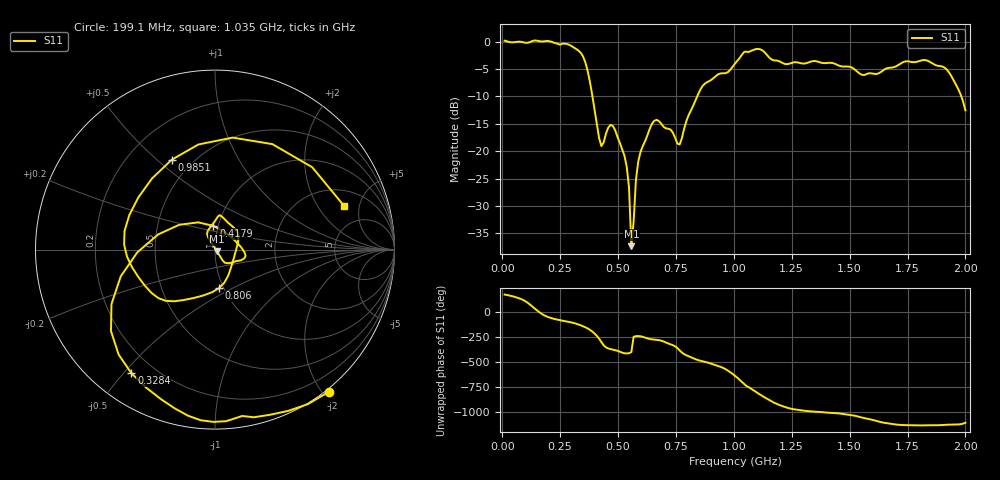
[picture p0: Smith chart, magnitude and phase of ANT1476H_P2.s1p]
!Created with skrf (http://scikit-rf.org).
# Hz S RI R 50.0
!freq ReS11 ImS11
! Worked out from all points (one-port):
!   201 points, 10 MHz to 2 GHz, reference 50 ohm
!   lowest |S11| = -37.3 dB at 557.2 MHz (marker M1), VSWR 1.03, Z = 51 - j0.925 ohm
!   |S11| at or under -10 dB: 389.3 MHz to 841.7 MHz (452.3 MHz wide, 73.5 % of centre); 1.983 GHz to end of sweep
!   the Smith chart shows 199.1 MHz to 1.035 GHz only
!   S11 on the Smith chart (normalised r, x): 199.1 MHz: -0.04, -2.08; 328.4 MHz: 0.12, -0.52; 417.9 MHz: 0.95, +0.26; 806 MHz: 0.95, -0.43; 985.1 MHz: 0.39, +0.56; 1.035 GHz: 3.08, +3.53
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1e7  -1.018 0.0845
7.965e7  -0.6656 0.7454
1.1945e8  0.2497 0.9593
1.493e8  0.9748 0.3097
1.9905e8  0.6336 -0.7927
2.5875e8  0.0611 -0.9562
3.284e8  -0.4661 -0.6883
3.5825e8  -0.5767 -0.3031
4.1795e8  -0.00872 0.1321
5.075e8  0.0949 -0.0727
5.473e8  0.0282 -0.0373
5.5725e8  0.0101 -0.00907
5.871e8  -0.0393 0.0705
6.468e8  0.0125 0.1789
7.5625e8  0.1173 -0.00233
8.06e8  0.0213 -0.2157
8.856e8  -0.3533 -0.2421
9.851e8  -0.2411 0.5008
1.005e9  0.0979 0.624
1.03485e9  0.7199 0.2424
1.0647e9  0.6679 -0.4492
1.1045e9  -0.083 -0.8541
1.15425e9  -0.686 -0.1915
1.25375e9  -0.1952 0.6144
1.5025e9  0.3909 0.4408
1.75125e9  0.3887 -0.5363
1.91045e9  0.3628 -0.4517
2e9  0.2072 -0.1144
